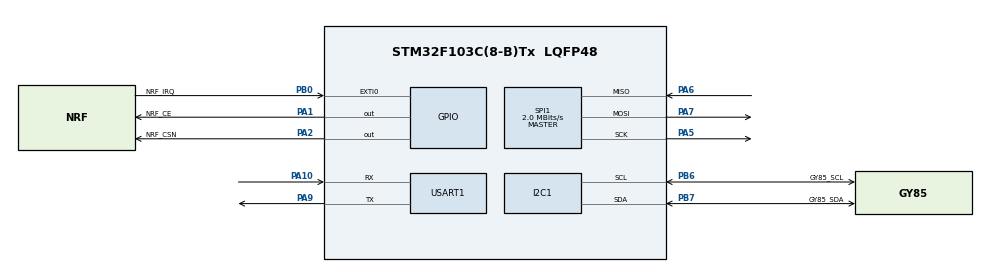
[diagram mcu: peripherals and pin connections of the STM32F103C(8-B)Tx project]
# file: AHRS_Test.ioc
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I2C1.I2C_Mode=I2C_Standard
Mcu.Family=STM32F1
Mcu.Name=STM32F103C(8-B)Tx
Mcu.Package=LQFP48
NVIC.EXTI0_IRQn=true\:0\:0\:false\:false\:true\:true\:true
NVIC.PriorityGroup=NVIC_PRIORITYGROUP_4
PA1.GPIO_Label=NRF_CE
PA1.Signal=GPIO_Output
PA10.Mode=Asynchronous
PA10.Signal=USART1_RX
PA13.Mode=Serial_Wire
PA13.Signal=SYS_JTMS-SWDIO
PA14.Mode=Serial_Wire
PA14.Signal=SYS_JTCK-SWCLK
PA2.GPIO_Label=NRF_CSN
PA2.Signal=GPIO_Output
PA5.Mode=Full_Duplex_Master
PA5.Signal=SPI1_SCK
PA6.Mode=Full_Duplex_Master
PA6.Signal=SPI1_MISO
PA7.Mode=Full_Duplex_Master
PA7.Signal=SPI1_MOSI
PA9.Mode=Asynchronous
PA9.Signal=USART1_TX
PB0.GPIO_Label=NRF_IRQ
PB0.Signal=GPXTI0
PB6.GPIO_Label=GY85_SCL
PB6.Mode=I2C
PB6.Signal=I2C1_SCL
PB7.GPIO_Label=GY85_SDA
PB7.Mode=I2C
PB7.Signal=I2C1_SDA
PD0-OSC_IN.Mode=HSE-External-Oscillator
PD0-OSC_IN.Signal=RCC_OSC_IN
PD1-OSC_OUT.Mode=HSE-External-Oscillator
PD1-OSC_OUT.Signal=RCC_OSC_OUT
ProjectManager.HeapSize=0x200
ProjectManager.StackSize=0x400
ProjectManager.TargetToolchain=Makefile
RCC.APB1Freq_Value=8000000
RCC.APB2Freq_Value=8000000
SPI1.BaudRatePrescaler=SPI_BAUDRATEPRESCALER_4
SPI1.CalculateBaudRate=2.0 MBits/s
SPI1.Direction=SPI_DIRECTION_2LINES
SPI1.Mode=SPI_MODE_MASTER
SPI1.VirtualType=VM_MASTER
USART1.VirtualMode=VM_ASYNC
board=custom

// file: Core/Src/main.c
/* USER CODE BEGIN Header */
/**
  ******************************************************************************
  * @file           : main.c
  * @brief          : Main program body
  ******************************************************************************
  * @attention
  *
  * <h2><center>&copy; Copyright (c) 2021 STMicroelectronics.
  * All rights reserved.</center></h2>
  *
  * This software component is licensed by ST under BSD 3-Clause license,
  * the "License"; You may not use this file except in compliance with the
  * License. You may obtain a copy of the License at:
  *                        opensource.org/licenses/BSD-3-Clause
  *
  ******************************************************************************
  */
/* USER CODE END Header */
#include "main.h"

I2C_HandleTypeDef hi2c1;

SPI_HandleTypeDef hspi1;

UART_HandleTypeDef huart1;

void SystemClock_Config(void);
static void MX_GPIO_Init(void);
static void MX_I2C1_Init(void);
static void MX_USART1_UART_Init(void);
static void MX_SPI1_Init(void);

int main(void)
{

  /* MCU Configuration--------------------------------------------------------*/

  /* Reset of all peripherals, Initializes the Flash interface and the Systick. */
  HAL_Init();

  /* Configure the system clock */
  SystemClock_Config();

  /* Initialize all configured peripherals */
  MX_GPIO_Init();
  MX_I2C1_Init();
  MX_USART1_UART_Init();
  MX_SPI1_Init();
  /* USER CODE BEGIN 2 */
  gy85_compass_init();
  gy85_accel_init();
  uint8_t rawdata[12];
  int16_t tempdata[3];
  int _temp_filter;
  DigitalBiquadFilter Filter1, Filter2, Filter3, Filter4, Filter5, Filter6;
  LPF2p_init(&Filter1, 380, 10);
  LPF2p_init(&Filter2, 380, 10);
  LPF2p_init(&Filter3, 380, 10);
  LPF2p_init(&Filter4, 115, 10);
  LPF2p_init(&Filter5, 115, 10);
  LPF2p_init(&Filter6, 115, 10);
  nRF24_CHECK_INIT();
  /* USER CODE END 2 */

  /* Infinite loop */
  while (1)
  {

    /* USER CODE BEGIN 3 */
    HAL_Delay(20);
    gy85_compass_getData(tempdata);
    _temp_filter = tempdata[0];
    tempdata[0] = LPF2p_apply(_temp_filter, &Filter1);
    _temp_filter = tempdata[1];
    tempdata[1] = LPF2p_apply(_temp_filter, &Filter2);
    _temp_filter = tempdata[2];
    tempdata[2] = LPF2p_apply(_temp_filter, &Filter3);

    rawdata[0] = tempdata[0] >> 8;
    rawdata[1] = tempdata[0];
    rawdata[2] = tempdata[1] >> 8;
    rawdata[3] = tempdata[1];
    rawdata[4] = tempdata[2] >> 8;
    rawdata[5] = tempdata[2];

    gy85_accel_getData(tempdata);
    _temp_filter = tempdata[0];
    tempdata[0] = LPF2p_apply(_temp_filter, &Filter4);
    _temp_filter = tempdata[1];
    tempdata[1] = LPF2p_apply(_temp_filter, &Filter5);
    _temp_filter = tempdata[2];
    tempdata[2] = LPF2p_apply(_temp_filter, &Filter6);

    rawdata[6] = tempdata[0] >> 8;
    rawdata[7] = tempdata[0];
    rawdata[8] = tempdata[1] >> 8;
    rawdata[9] = tempdata[1];
    rawdata[10] = tempdata[2] >> 8;
    rawdata[11] = tempdata[2];

    HAL_UART_Transmit(&huart1, rawdata, ARR_SIZE(rawdata), 0x0f);
    Single_TX(rawdata, 12);
  }
  /* USER CODE END 3 */
}

void SystemClock_Config(void)
{
  RCC_OscInitTypeDef RCC_OscInitStruct = {0};
  RCC_ClkInitTypeDef RCC_ClkInitStruct = {0};

  /** Initializes the RCC Oscillators according to the specified parameters
  * in the RCC_OscInitTypeDef structure.
  */
  RCC_OscInitStruct.OscillatorType = RCC_OSCILLATORTYPE_HSI;
  RCC_OscInitStruct.HSIState = RCC_HSI_ON;
  RCC_OscInitStruct.HSICalibrationValue = RCC_HSICALIBRATION_DEFAULT;
  RCC_OscInitStruct.PLL.PLLState = RCC_PLL_NONE;
  if (HAL_RCC_OscConfig(&RCC_OscInitStruct) != HAL_OK)
  {
    Error_Handler();
  }
  /** Initializes the CPU, AHB and APB buses clocks
  */
  RCC_ClkInitStruct.ClockType = RCC_CLOCKTYPE_HCLK|RCC_CLOCKTYPE_SYSCLK
                              |RCC_CLOCKTYPE_PCLK1|RCC_CLOCKTYPE_PCLK2;
  RCC_ClkInitStruct.SYSCLKSource = RCC_SYSCLKSOURCE_HSI;
  RCC_ClkInitStruct.AHBCLKDivider = RCC_SYSCLK_DIV1;
  RCC_ClkInitStruct.APB1CLKDivider = RCC_HCLK_DIV1;
  RCC_ClkInitStruct.APB2CLKDivider = RCC_HCLK_DIV1;

  if (HAL_RCC_ClockConfig(&RCC_ClkInitStruct, FLASH_LATENCY_0) != HAL_OK)
  {
    Error_Handler();
  }
}

static void MX_I2C1_Init(void)
{

  hi2c1.Instance = I2C1;
  hi2c1.Init.ClockSpeed = 100000;
  hi2c1.Init.DutyCycle = I2C_DUTYCYCLE_2;
  hi2c1.Init.OwnAddress1 = 0;
  hi2c1.Init.AddressingMode = I2C_ADDRESSINGMODE_7BIT;
  hi2c1.Init.DualAddressMode = I2C_DUALADDRESS_DISABLE;
  hi2c1.Init.OwnAddress2 = 0;
  hi2c1.Init.GeneralCallMode = I2C_GENERALCALL_DISABLE;
  hi2c1.Init.NoStretchMode = I2C_NOSTRETCH_DISABLE;
  if (HAL_I2C_Init(&hi2c1) != HAL_OK)
  {
    Error_Handler();
  }

}

static void MX_SPI1_Init(void)
{

  /* SPI1 parameter configuration*/
  hspi1.Instance = SPI1;
  hspi1.Init.Mode = SPI_MODE_MASTER;
  hspi1.Init.Direction = SPI_DIRECTION_2LINES;
  hspi1.Init.DataSize = SPI_DATASIZE_8BIT;
  hspi1.Init.CLKPolarity = SPI_POLARITY_LOW;
  hspi1.Init.CLKPhase = SPI_PHASE_1EDGE;
  hspi1.Init.NSS = SPI_NSS_SOFT;
  hspi1.Init.BaudRatePrescaler = SPI_BAUDRATEPRESCALER_4;
  hspi1.Init.FirstBit = SPI_FIRSTBIT_MSB;
  hspi1.Init.TIMode = SPI_TIMODE_DISABLE;
  hspi1.Init.CRCCalculation = SPI_CRCCALCULATION_DISABLE;
  hspi1.Init.CRCPolynomial = 10;
  if (HAL_SPI_Init(&hspi1) != HAL_OK)
  {
    Error_Handler();
  }

}

static void MX_USART1_UART_Init(void)
{

  huart1.Instance = USART1;
  huart1.Init.BaudRate = 115200;
  huart1.Init.WordLength = UART_WORDLENGTH_8B;
  huart1.Init.StopBits = UART_STOPBITS_1;
  huart1.Init.Parity = UART_PARITY_NONE;
  huart1.Init.Mode = UART_MODE_TX_RX;
  huart1.Init.HwFlowCtl = UART_HWCONTROL_NONE;
  huart1.Init.OverSampling = UART_OVERSAMPLING_16;
  if (HAL_UART_Init(&huart1) != HAL_OK)
  {
    Error_Handler();
  }

}

static void MX_GPIO_Init(void)
{
  GPIO_InitTypeDef GPIO_InitStruct = {0};

  /* GPIO Ports Clock Enable */
  __HAL_RCC_GPIOD_CLK_ENABLE();
  __HAL_RCC_GPIOA_CLK_ENABLE();
  __HAL_RCC_GPIOB_CLK_ENABLE();

  /*Configure GPIO pin Output Level */
  HAL_GPIO_WritePin(GPIOA, NRF_CE_Pin|NRF_CSN_Pin, GPIO_PIN_RESET);

  /*Configure GPIO pins : NRF_CE_Pin NRF_CSN_Pin */
  GPIO_InitStruct.Pin = NRF_CE_Pin|NRF_CSN_Pin;
  GPIO_InitStruct.Mode = GPIO_MODE_OUTPUT_PP;
  GPIO_InitStruct.Pull = GPIO_NOPULL;
  GPIO_InitStruct.Speed = GPIO_SPEED_FREQ_LOW;
  HAL_GPIO_Init(GPIOA, &GPIO_InitStruct);

  /*Configure GPIO pin : NRF_IRQ_Pin */
  GPIO_InitStruct.Pin = NRF_IRQ_Pin;
  GPIO_InitStruct.Mode = GPIO_MODE_IT_RISING;
  GPIO_InitStruct.Pull = GPIO_NOPULL;
  HAL_GPIO_Init(NRF_IRQ_GPIO_Port, &GPIO_InitStruct);

  /* EXTI interrupt init*/
  HAL_NVIC_SetPriority(EXTI0_IRQn, 0, 0);
  HAL_NVIC_EnableIRQ(EXTI0_IRQn);

}

void Error_Handler(void)
{
  __disable_irq();
  while (1)
  {
  }
}

/************************ (C) COPYRIGHT STMicroelectronics *****END OF FILE****/
